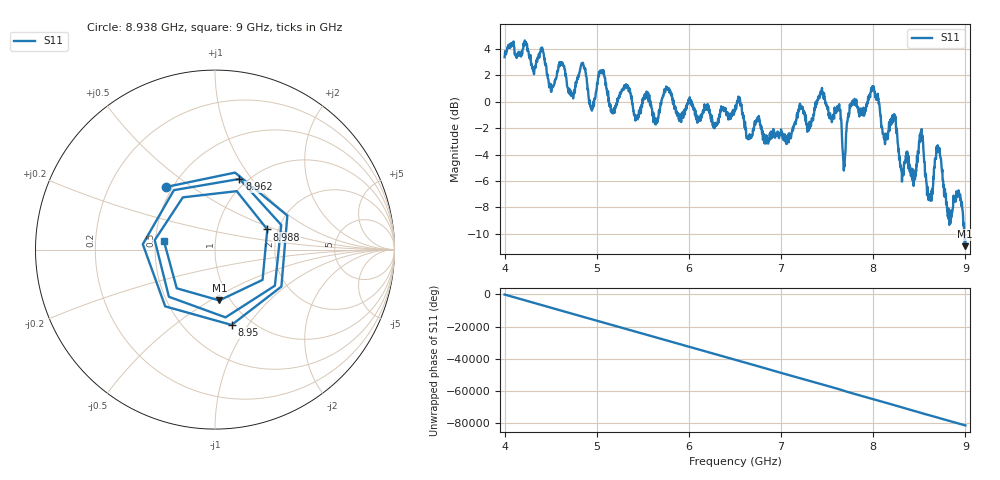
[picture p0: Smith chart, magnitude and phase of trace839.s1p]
! Created with skrf 1.8.0 (http://scikit-rf.org).
# Hz S RI R 50.0
!freq ReS11 ImS11
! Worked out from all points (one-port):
!   1601 points, 4 GHz to 9 GHz, reference 50 ohm
!   lowest |S11| = -10.9 dB at 8.994 GHz (marker M1), VSWR 1.79, Z = 44.5 - j27.4 ohm
!   |S11| at or under -10 dB: 8.987537 GHz to end of sweep
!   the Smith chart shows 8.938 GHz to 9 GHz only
!   S11 on the Smith chart (normalised r, x): 8.938 GHz: 0.46, +0.40; 8.95 GHz: 0.82, -0.84; 8.962 GHz: 0.92, +0.87; 8.988 GHz: 1.75, +0.44; 9 GHz: 0.56, +0.06
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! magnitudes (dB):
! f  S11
! 4 GHz  3.4
! 4.625 GHz  3.0
! 4.731 GHz  0.7
! 4.853 GHz  2.8
! 4.944 GHz  -0.6
! 5.05 GHz  2.2
! 5.159 GHz  -0.6
! 5.25 GHz  0.6
! 5.875 GHz  -0.9
! 6.5 GHz  -0.7
! 7.125 GHz  -2.2
! 7.444 GHz  1.0
! 7.628 GHz  -0.3
! 7.684 GHz  -4.7
! 7.75 GHz  -0.4
! 8.003 GHz  0.9
! 8.375 GHz  -3.9
! 8.444 GHz  -6.0
! 8.519 GHz  -2.3
! 8.609 GHz  -7.3
! 8.709 GHz  -3.7
! 8.822 GHz  -8.6
! 8.938 GHz  -7.1
! 8.95 GHz  -7.3
! 8.962 GHz  -7.6
! 8.988 GHz  -10.1
! 8.994 GHz  -10.9
! 9 GHz  -10.8
